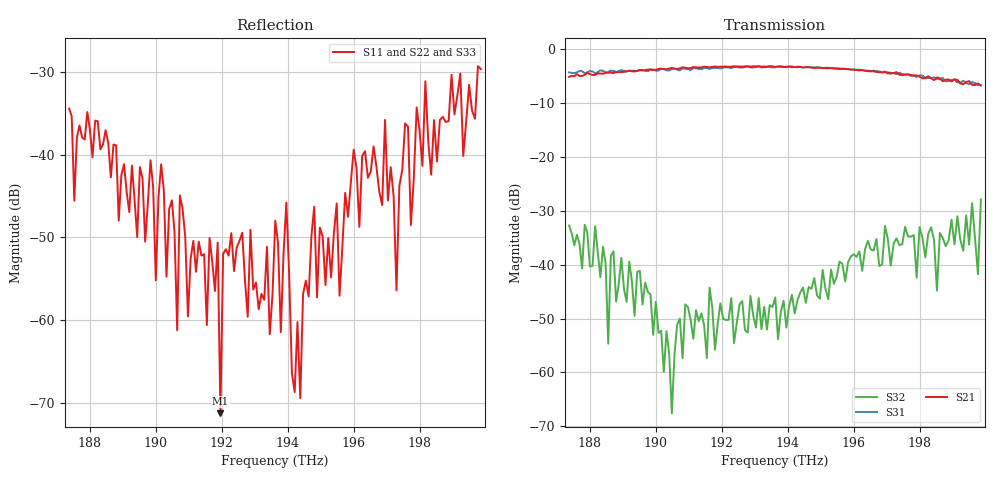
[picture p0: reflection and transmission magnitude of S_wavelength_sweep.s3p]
! Ansys Lumerical
! Created: sex jun 10 13:43:28 2022
! Project File: /media/leonardo/datam02/MMI-LeonardoPessôa/MMI-Multi-Mode-Interferometer-2x2/MMI_Lumerical.lms
! Touchstone File Format: Version 1.0
! Two-Port Data Order: 21_12
# HZ S MA R 50.00
! Optical Port List
! Port[0] = {"port 1","mode 1",1,"LEFT"}
! Port[1] = {"port 2","mode 1",1,"RIGHT"}
! Port[2] = {"port 3","mode 1",1,"RIGHT"}
! FREQ  AMP  PHASE  AMP  PHASE  AMP  PHASE
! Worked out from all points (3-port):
!   150 points, 187.4 THz to 199.9 THz, reference 50 ohm
!   strongest paths, dB at 187.4 THz, 190.3 THz, 193.5 THz, 196.6 THz, 199.9 THz:
!     S21: -5.2, -3.7, -3.2, -4.0, -6.8
!     S31: -4.3, -4.0, -3.3, -4.2, -6.7
!     S32: -32.7, -52.3, -47.5, -37.4, -27.9
!   lowest |S11| = -71.3 dB at 192 THz (marker M1), VSWR 1.00, Z = 50 + j0.00595 ohm
!   |S11| at or under -10 dB: start of sweep to end of sweep
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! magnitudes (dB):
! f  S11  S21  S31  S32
! 187.4 THz  -34.4  -5.2  -4.3  -32.7
! 190.5 THz  -45.5  -3.5  -3.7  -67.6
! 191.9 THz  -50.7  -3.3  -3.5  -51.0
! 192 THz  -71.3  -3.3  -3.6  -47.2
! 193.6 THz  -48.0  -3.3  -3.4  -46.1
! 194.4 THz  -69.5  -3.3  -3.3  -45.2
! 194.8 THz  -46.3  -3.5  -3.4  -42.5
! 197 THz  -35.8  -4.2  -4.3  -32.8
! 197.3 THz  -56.4  -4.3  -4.6  -35.1
! 199.9 THz  -29.7  -6.8  -6.7  -27.9
